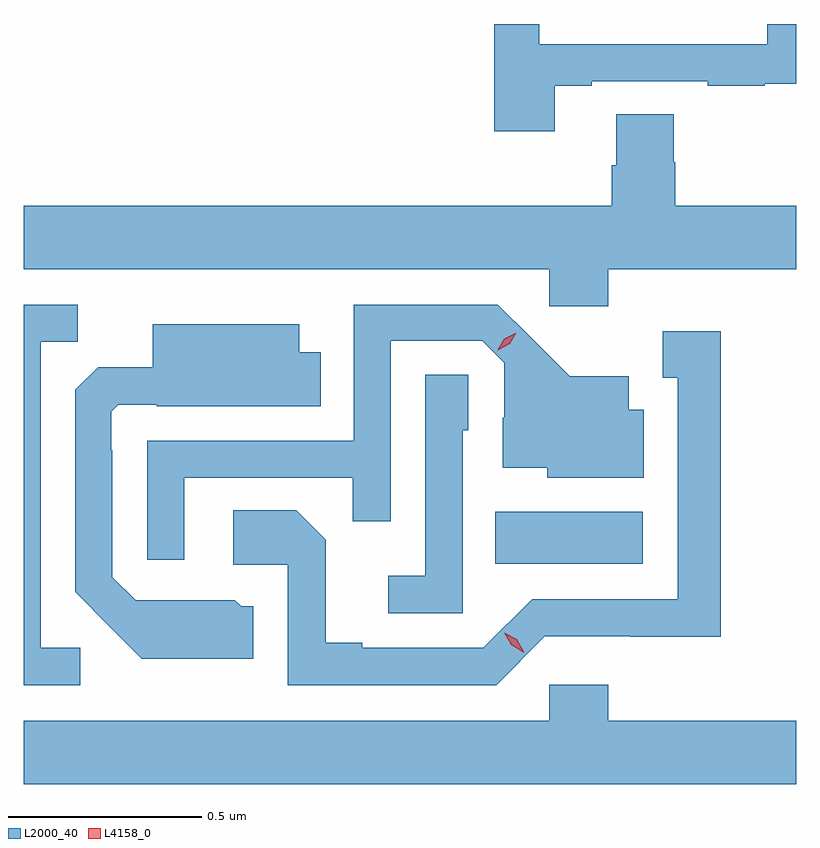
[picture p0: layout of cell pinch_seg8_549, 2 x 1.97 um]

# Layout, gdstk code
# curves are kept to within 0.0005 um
import gdstk
lib = gdstk.Library(unit=1e-6, precision=1e-09)
def R(c, l, rs):  # rectangles x0, y0, x1, y1
    for r in rs: c.add(gdstk.rectangle(r[:2], r[2:], *l))
def P(c, l, *ps):  # polygons
    for p in ps: c.add(gdstk.Polygon(p, *l))
L2000_40 = (2000, 40)
L4158_0 = (4158, 0)

pinch_seg8_549 = lib.new_cell('pinch_seg8_549')
R(pinch_seg8_549, L2000_40, [(150.688,1115.738,151.069,1115.872)])
P(pinch_seg8_549, L2000_40, [(150.841,1116.975),(150.937,1116.975),(150.937,1116.987),(151.237,1116.987),(151.237,1116.975),(151.385,1116.975),(151.385,1116.981),(151.467,1116.981),(151.467,1117.135),(151.392,1117.135),(151.392,1117.083),(150.801,1117.083),(150.801,1117.135),(150.685,1117.135),(150.685,1116.858),(150.841,1116.858)],
  [(150.98,1116.5),(151.467,1116.5),(151.467,1116.664),(151.154,1116.664),(151.154,1116.777),(151.149,1116.777),(151.149,1116.902),(151.001,1116.902),(151.001,1116.77),(150.989,1116.77),(150.989,1116.664),(149.467,1116.664),(149.467,1116.5),(150.828,1116.5),(150.828,1116.405),(150.98,1116.405)],
  [(149.614,1115.52),(149.511,1115.52),(149.511,1116.313),(149.607,1116.313),(149.607,1116.408),(149.467,1116.408),(149.467,1115.424),(149.614,1115.424)],
  [(149.883,1115.961),(150.319,1115.961),(150.319,1115.848),(150.417,1115.848),(150.417,1116.315),(150.654,1116.315),(150.711,1116.258),(150.711,1116.116),(150.707,1116.116),(150.707,1115.987),(150.822,1115.987),(150.822,1115.96),(151.072,1115.96),(151.072,1116.136),(151.033,1116.136),(151.033,1116.223),(150.881,1116.223),(150.694,1116.408),(150.321,1116.408),(150.321,1116.057),(149.787,1116.057),(149.787,1115.748),(149.883,1115.748)],
  [(150.061,1115.628),(150.03,1115.628),(150.014,1115.644),(149.88,1115.644),(149.88,1115.643),(149.757,1115.643),(149.697,1115.703),(149.697,1116.032),(149.694,1116.032),(149.694,1116.132),(149.712,1116.15),(149.812,1116.15),(149.812,1116.146),(150.236,1116.146),(150.236,1116.286),(150.181,1116.286),(150.181,1116.358),(149.801,1116.358),(149.801,1116.247),(149.66,1116.247),(149.601,1116.188),(149.601,1115.666),(149.773,1115.492),(150.061,1115.492)],
  [(150.816,1115.55),(151.038,1115.55),(151.038,1115.549),(151.271,1115.549),(151.271,1116.34),(151.121,1116.34),(151.121,1116.219),(151.16,1116.219),(151.16,1115.646),(150.783,1115.646),(150.657,1115.52),(150.343,1115.52),(150.343,1115.533),(150.249,1115.533),(150.249,1115.8),(150.173,1115.876),(150.009,1115.876),(150.009,1115.736),(150.15,1115.736),(150.15,1115.424),(150.69,1115.424)],
  [(150.603,1116.084),(150.618,1116.084),(150.618,1116.227),(150.507,1116.227),(150.507,1115.707),(150.411,1115.707),(150.411,1115.61),(150.603,1115.61)],
  [(151.467,1115.332),(150.98,1115.332),(150.98,1115.425),(150.828,1115.425),(150.828,1115.332),(149.467,1115.332),(149.467,1115.168),(151.467,1115.168)])
P(pinch_seg8_549, L4158_0, [(150.76,1115.509),(150.729,1115.528),(150.711,1115.56),(150.711,1115.56),(150.711,1115.56),(150.743,1115.542),(150.761,1115.51),(150.761,1115.509)],
  [(150.694,1116.291),(150.694,1116.292),(150.711,1116.321),(150.742,1116.336),(150.742,1116.336),(150.742,1116.336),(150.725,1116.307),(150.694,1116.291)])

lib.write_gds('pinch_seg8_549.gds')
